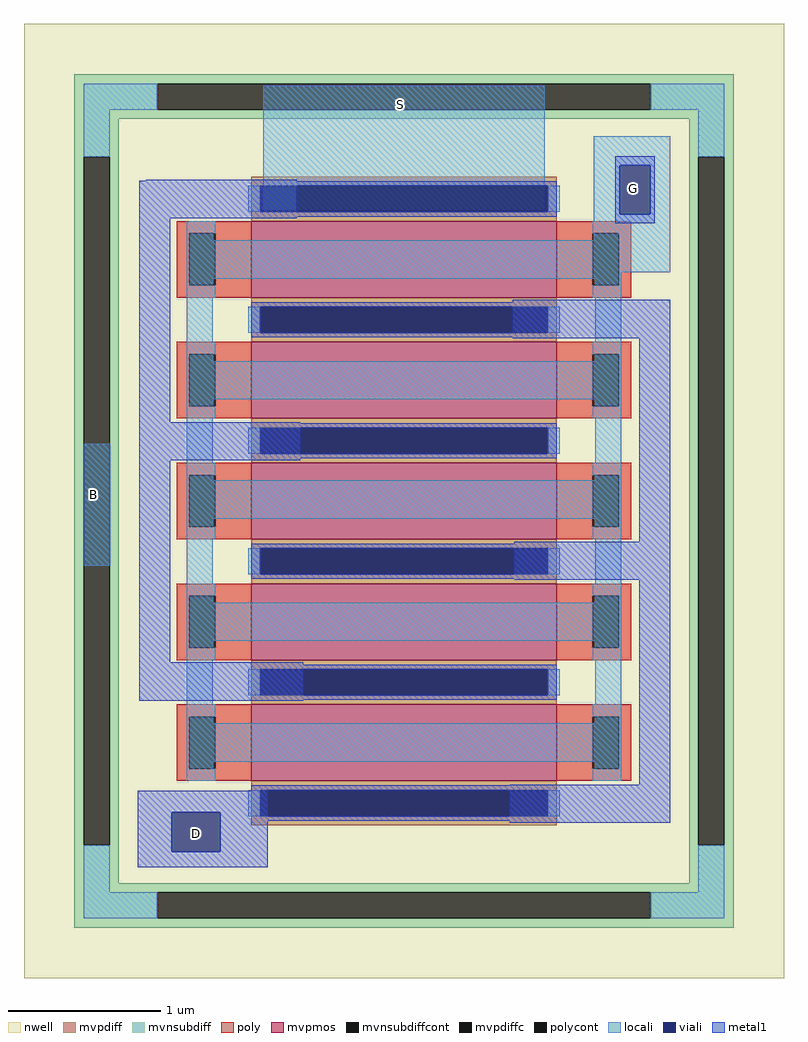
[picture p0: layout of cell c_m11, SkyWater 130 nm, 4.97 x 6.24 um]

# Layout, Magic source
magic
tech sky130A
magscale 1 2
<< locali >>
rect 230 912 598 1074
rect 662 970 762 1008
rect 662 906 696 970
rect 736 906 762 970
rect 130 872 164 896
rect 662 872 762 906
rect 130 830 762 872
rect 130 822 698 830
rect 130 714 164 822
rect 664 714 698 822
rect 130 664 698 714
rect -4 446 30 606
rect 130 558 164 664
rect 664 558 698 664
rect 130 508 698 558
rect 130 398 164 508
rect 664 398 698 508
rect 130 348 698 398
rect 130 240 164 348
rect 664 240 698 348
rect 130 190 698 240
rect 130 166 164 190
rect 664 165 698 190
<< viali >>
rect 696 906 736 970
rect 110 72 174 124
<< metal1 >>
rect 690 970 742 982
rect 76 950 274 951
rect 68 901 274 950
rect 690 906 696 970
rect 736 906 742 970
rect 68 634 108 901
rect 690 894 742 906
rect 556 744 762 794
rect 68 584 278 634
rect 68 320 108 584
rect 722 478 762 744
rect 558 428 762 478
rect 68 270 282 320
rect 722 160 762 428
rect 66 124 236 152
rect 66 72 110 124
rect 174 72 236 124
rect 552 110 762 160
rect 66 52 236 72
use sky130_fd_pr__pfet_g5v0d10v5_4MG7YF  sky130_fd_pr__pfet_g5v0d10v5_4MG7YF_0
transform 0 1 414 -1 0 531
box -624 -497 624 497
<< labels >>
flabel viali 142 96 142 96 0 FreeSans 800 0 0 0 D
port 0 nsew
flabel viali 714 940 714 940 0 FreeSans 800 0 0 0 G
port 1 nsew
flabel locali 8 540 8 540 0 FreeSans 800 0 0 0 B
port 2 nsew
flabel locali 410 1050 410 1050 0 FreeSans 800 0 0 0 S
port 3 nsew
<< end >>

# cell sky130_fd_pr__pfet_g5v0d10v5_4MG7YF: kit device sky130_fd_pr__pfet_g5v0d10v5, w 2 l 0.5 m 1 nf 5 diffcov 100 polycov 100 guard 1 glc 1 grc 1 gtc 1 gbc 1 tbcov 100 rlcov 100 topc 1 botc 1 poverlap 0 doverlap 1 lmin 0.50 wmin 0.42 class mosfet compatible {sky130_fd_pr__pfet_01v8 sky130_fd_pr__pfet_01v8_lvt sky130_fd_pr__pfet_01v8_hvt sky130_fd_pr__pfet_g5v0d10v5} full_metal 1 conn_gates 0 viasrc 100 viadrn 100 viagate 100 viagb 0 viagr 0 viagl 0 viagt 0 doports 1
